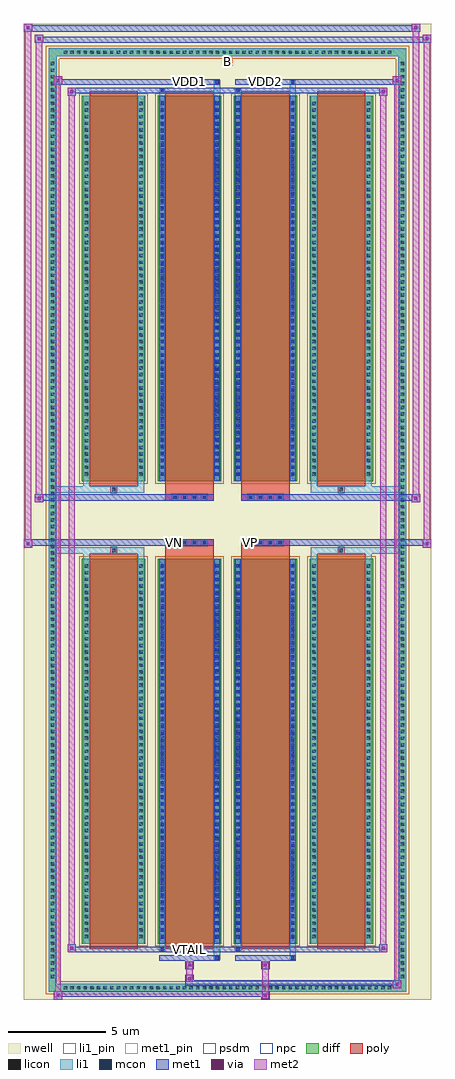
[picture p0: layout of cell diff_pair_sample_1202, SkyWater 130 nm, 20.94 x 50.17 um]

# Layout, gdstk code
import gdstk
lib = gdstk.Library(unit=1e-6, precision=5e-09)
def R(c, l, rs):  # rectangles x0, y0, x1, y1
    for r in rs: c.add(gdstk.rectangle(r[:2], r[2:], *l))
def A(c, l, x, y, w, h, nx, ny, dx, dy):  # array of equal rectangles
    R(c, l, [(x+i*dx, y+j*dy, x+i*dx+w, y+j*dy+h) for i in range(nx) for j in range(ny)])
def P(c, l, *ps):  # polygons
    for p in ps: c.add(gdstk.Polygon(p, *l))
nwell = (64, 20)
diff = (65, 20)
poly = (66, 20)
licon = (66, 44)
li1_pin = (67, 16)
li1 = (67, 20)
mcon = (67, 44)
met1_pin = (68, 16)
met1 = (68, 20)
via = (68, 44)
met2 = (69, 20)
psdm = (94, 20)
npc = (95, 20)

diff_pair_sample_1202 = lib.new_cell('diff_pair_sample_1202')
R(diff_pair_sample_1202, nwell, [(-10.47,-24.65,10.47,25.52), (-7.79,-22.84,-0.01,-0.8), (0.01,-22.84,7.79,-0.8), (-7.79,0.8,-0.01,22.84), (0.01,0.8,7.79,22.84)])
A(diff_pair_sample_1202, diff, -8.535, -24.25, 0.41, 0.41, 50, 2, 0.34, 48.09)
A(diff_pair_sample_1202, diff, -9.2, -23.665, 0.41, 0.41, 1, 139, 0, 0.34)
A(diff_pair_sample_1202, diff, 8.79, -23.665, 0.41, 0.41, 1, 139, 0, 0.34)
A(diff_pair_sample_1202, diff, -7.48, -21.795, 3.26, 19.81, 4, 2, 3.9, 23.78)
R(diff_pair_sample_1202, diff, [(-8.535,-24.25,8.535,-23.84), (-9.2,-23.665,-8.79,23.665), (8.79,-23.665,9.2,23.665), (-8.535,23.84,8.535,24.25)])
P(diff_pair_sample_1202, diff, [(9.2,24.25),(-9.2,24.25),(-9.2,-23.84),(-8.79,-23.84),(-8.79,23.84),(8.79,23.84),(8.79,-23.84),(-8.79,-23.84),(-9.2,-23.84),(-9.2,-24.25),(9.2,-24.25)])
A(diff_pair_sample_1202, poly, -7.09, -22.045, 2.48, 20.31, 4, 2, 3.9, 23.78)
A(diff_pair_sample_1202, poly, -2.865, -1.33, 0.33, 0.33, 4, 2, 0.5, 2.33)
A(diff_pair_sample_1202, poly, 1.035, -1.33, 0.33, 0.33, 4, 2, 0.5, 2.33)
R(diff_pair_sample_1202, poly, [(-6.015,-1.735,-5.685,-1.405), (-6.015,-1.735,-5.685,-1.405), (-3.19,-1.735,-0.71,-1.33), (0.71,-1.735,3.19,-1.33), (5.685,-1.735,6.015,-1.405), (5.685,-1.735,6.015,-1.405), (-3.19,-1.33,-0.71,-1), (0.71,-1.33,3.19,-1), (-3.19,1,-0.71,1.33), (0.71,1,3.19,1.33), (-3.19,1.33,-0.71,1.735), (0.71,1.33,3.19,1.735), (-6.015,1.405,-5.685,1.735), (-6.015,1.405,-5.685,1.735), (5.685,1.405,6.015,1.735), (5.685,1.405,6.015,1.735)])
A(diff_pair_sample_1202, licon, -8.415, -24.13, 0.17, 0.17, 50, 2, 0.34, 48.09)
A(diff_pair_sample_1202, licon, -9.08, -23.545, 0.17, 0.17, 1, 139, 0, 0.34)
A(diff_pair_sample_1202, licon, 8.91, -23.545, 0.17, 0.17, 1, 139, 0, 0.34)
A(diff_pair_sample_1202, licon, -7.34, -21.495, 0.17, 0.17, 1, 57, 0, 0.34)
A(diff_pair_sample_1202, licon, -4.53, -21.495, 0.17, 0.17, 1, 57, 0, 0.34)
A(diff_pair_sample_1202, licon, -3.44, -21.495, 0.17, 0.17, 1, 57, 0, 0.34)
A(diff_pair_sample_1202, licon, -0.63, -21.495, 0.17, 0.17, 1, 57, 0, 0.34)
A(diff_pair_sample_1202, licon, 0.46, -21.495, 0.17, 0.17, 1, 57, 0, 0.34)
A(diff_pair_sample_1202, licon, 3.27, -21.495, 0.17, 0.17, 1, 57, 0, 0.34)
A(diff_pair_sample_1202, licon, 4.36, -21.495, 0.17, 0.17, 1, 57, 0, 0.34)
A(diff_pair_sample_1202, licon, 7.17, -21.495, 0.17, 0.17, 1, 57, 0, 0.34)
A(diff_pair_sample_1202, licon, -2.785, -1.25, 0.17, 0.17, 4, 2, 0.5, 2.33)
A(diff_pair_sample_1202, licon, 1.115, -1.25, 0.17, 0.17, 4, 2, 0.5, 2.33)
A(diff_pair_sample_1202, licon, -7.34, 2.285, 0.17, 0.17, 1, 57, 0, 0.34)
A(diff_pair_sample_1202, licon, -4.53, 2.285, 0.17, 0.17, 1, 57, 0, 0.34)
A(diff_pair_sample_1202, licon, -3.44, 2.285, 0.17, 0.17, 1, 57, 0, 0.34)
A(diff_pair_sample_1202, licon, -0.63, 2.285, 0.17, 0.17, 1, 57, 0, 0.34)
A(diff_pair_sample_1202, licon, 0.46, 2.285, 0.17, 0.17, 1, 57, 0, 0.34)
A(diff_pair_sample_1202, licon, 3.27, 2.285, 0.17, 0.17, 1, 57, 0, 0.34)
A(diff_pair_sample_1202, licon, 4.36, 2.285, 0.17, 0.17, 1, 57, 0, 0.34)
A(diff_pair_sample_1202, licon, 7.17, 2.285, 0.17, 0.17, 1, 57, 0, 0.34)
R(diff_pair_sample_1202, licon, [(-5.935,-1.655,-5.765,-1.485), (5.765,-1.655,5.935,-1.485), (-5.935,1.485,-5.765,1.655), (5.765,1.485,5.935,1.655)])
R(diff_pair_sample_1202, li1_pin, [(-0.25,23.34,0.25,23.84)])
A(diff_pair_sample_1202, li1, -8.495, -24.21, 0.33, 0.33, 50, 2, 0.34, 48.09)
A(diff_pair_sample_1202, li1, -9.16, -23.625, 0.33, 0.33, 1, 139, 0, 0.34)
A(diff_pair_sample_1202, li1, 8.83, -23.625, 0.33, 0.33, 1, 139, 0, 0.34)
A(diff_pair_sample_1202, li1, -7.42, -21.575, 0.33, 0.33, 1, 57, 0, 0.34)
A(diff_pair_sample_1202, li1, -4.61, -21.575, 0.33, 0.33, 1, 57, 0, 0.34)
A(diff_pair_sample_1202, li1, -3.52, -21.575, 0.33, 0.33, 1, 57, 0, 0.34)
A(diff_pair_sample_1202, li1, -0.71, -21.575, 0.33, 0.33, 1, 57, 0, 0.34)
A(diff_pair_sample_1202, li1, 0.38, -21.575, 0.33, 0.33, 1, 57, 0, 0.34)
A(diff_pair_sample_1202, li1, 3.19, -21.575, 0.33, 0.33, 1, 57, 0, 0.34)
A(diff_pair_sample_1202, li1, 4.28, -21.575, 0.33, 0.33, 1, 57, 0, 0.34)
A(diff_pair_sample_1202, li1, 7.09, -21.575, 0.33, 0.33, 1, 57, 0, 0.34)
A(diff_pair_sample_1202, li1, -3.44, -21.515, 0.17, 0.17, 1, 54, 0, 0.36)
A(diff_pair_sample_1202, li1, -0.63, -21.515, 0.17, 0.17, 1, 54, 0, 0.36)
A(diff_pair_sample_1202, li1, 0.46, -21.515, 0.17, 0.17, 1, 54, 0, 0.36)
A(diff_pair_sample_1202, li1, 3.27, -21.515, 0.17, 0.17, 1, 54, 0, 0.36)
A(diff_pair_sample_1202, li1, -2.865, -1.33, 0.33, 0.33, 4, 2, 0.5, 2.33)
A(diff_pair_sample_1202, li1, 1.035, -1.33, 0.33, 0.33, 4, 2, 0.5, 2.33)
A(diff_pair_sample_1202, li1, -7.42, 2.205, 0.33, 0.33, 1, 57, 0, 0.34)
A(diff_pair_sample_1202, li1, -4.61, 2.205, 0.33, 0.33, 1, 57, 0, 0.34)
A(diff_pair_sample_1202, li1, -3.52, 2.205, 0.33, 0.33, 1, 57, 0, 0.34)
A(diff_pair_sample_1202, li1, -0.71, 2.205, 0.33, 0.33, 1, 57, 0, 0.34)
A(diff_pair_sample_1202, li1, 0.38, 2.205, 0.33, 0.33, 1, 57, 0, 0.34)
A(diff_pair_sample_1202, li1, 3.19, 2.205, 0.33, 0.33, 1, 57, 0, 0.34)
A(diff_pair_sample_1202, li1, 4.28, 2.205, 0.33, 0.33, 1, 57, 0, 0.34)
A(diff_pair_sample_1202, li1, 7.09, 2.205, 0.33, 0.33, 1, 57, 0, 0.34)
A(diff_pair_sample_1202, li1, -3.44, 2.265, 0.17, 0.17, 1, 54, 0, 0.36)
A(diff_pair_sample_1202, li1, -0.63, 2.265, 0.17, 0.17, 1, 54, 0, 0.36)
A(diff_pair_sample_1202, li1, 0.46, 2.265, 0.17, 0.17, 1, 54, 0, 0.36)
A(diff_pair_sample_1202, li1, 3.27, 2.265, 0.17, 0.17, 1, 54, 0, 0.36)
R(diff_pair_sample_1202, li1, [(-9.2,-24.25,-8.79,-23.84), (-9.2,-24.25,-8.79,-23.84), (-8.79,-24.25,8.79,-23.84), (8.79,-24.25,9.2,-23.84), (8.79,-24.25,9.2,-23.84), (-9.2,-23.84,-8.79,23.84), (8.79,-23.84,9.2,23.84), (-0.71,-22.6,-0.38,-21.795), (-0.63,-22.6,-0.46,-22.43), (3.19,-22.6,3.52,-21.795), (3.27,-22.6,3.44,-22.43), (-3.52,-22.17,-3.19,-21.795), (-3.44,-22.17,-3.27,-22), (0.38,-22.17,0.71,-21.795), (0.46,-22.17,0.63,-22), (-7.42,-21.795,-7.09,-1.985), (-4.61,-21.795,-4.28,-1.985), (-3.52,-21.795,-3.19,-1.985), (-0.71,-21.795,-0.38,-1.985), (0.38,-21.795,0.71,-1.985), (3.19,-21.795,3.52,-1.985), (4.28,-21.795,4.61,-1.985), (7.09,-21.795,7.42,-1.985), (-3.44,-21.515,-3.27,-2.265), (-0.63,-21.515,-0.46,-2.265), (0.46,-21.515,0.63,-2.265), (3.27,-21.515,3.44,-2.265), (-7.42,-1.985,-7.09,-1.405), (-4.61,-1.985,-4.28,-1.405), (4.28,-1.985,4.61,-1.405), (7.09,-1.985,7.42,-1.405), (-9.2,-1.735,-6.015,-1.405), (-7.42,-1.735,-6.015,-1.405), (-6.015,-1.735,-5.685,-1.405), (-5.685,-1.735,-4.28,-1.405), (4.28,-1.735,5.685,-1.405), (5.685,-1.735,6.015,-1.405), (5.685,-1.735,9.2,-1.405), (6.015,-1.735,7.42,-1.405), (-9.2,1.405,-6.015,1.735), (-7.42,1.405,-6.015,1.735), (-7.42,1.405,-7.09,1.985), (-6.015,1.405,-5.685,1.735), (-5.685,1.405,-4.28,1.735), (-4.61,1.405,-4.28,1.985), (4.28,1.405,5.685,1.735), (4.28,1.405,4.61,1.985), (5.685,1.405,6.015,1.735), (5.685,1.405,9.2,1.735), (6.015,1.405,7.42,1.735), (7.09,1.405,7.42,1.985), (-7.42,1.985,-7.09,21.795), (-4.61,1.985,-4.28,21.795), (-3.52,1.985,-3.19,21.795), (-0.71,1.985,-0.38,21.795), (0.38,1.985,0.71,21.795), (3.19,1.985,3.52,21.795), (4.28,1.985,4.61,21.795), (7.09,1.985,7.42,21.795), (-3.44,2.265,-3.27,21.515), (-0.63,2.265,-0.46,21.515), (0.46,2.265,0.63,21.515), (3.27,2.265,3.44,21.515), (-3.52,21.795,-3.19,22.17), (-0.71,21.795,-0.38,22.6), (0.38,21.795,0.71,22.17), (3.19,21.795,3.52,22.6), (-3.44,22,-3.27,22.17), (0.46,22,0.63,22.17), (-0.63,22.43,-0.46,22.6), (3.27,22.43,3.44,22.6), (-9.2,23.84,-8.79,24.25), (-9.2,23.84,-8.79,24.25), (-8.79,23.84,8.79,24.25), (8.79,23.84,9.2,24.25), (8.79,23.84,9.2,24.25)])
A(diff_pair_sample_1202, mcon, -3.44, -21.515, 0.17, 0.17, 1, 54, 0, 0.36)
A(diff_pair_sample_1202, mcon, -0.63, -21.515, 0.17, 0.17, 1, 54, 0, 0.36)
A(diff_pair_sample_1202, mcon, 0.46, -21.515, 0.17, 0.17, 1, 54, 0, 0.36)
A(diff_pair_sample_1202, mcon, 3.27, -21.515, 0.17, 0.17, 1, 54, 0, 0.36)
A(diff_pair_sample_1202, mcon, -2.785, -1.25, 0.17, 0.17, 4, 2, 0.5, 2.33)
A(diff_pair_sample_1202, mcon, 1.115, -1.25, 0.17, 0.17, 4, 2, 0.5, 2.33)
A(diff_pair_sample_1202, mcon, -3.44, 2.265, 0.17, 0.17, 1, 54, 0, 0.36)
A(diff_pair_sample_1202, mcon, -0.63, 2.265, 0.17, 0.17, 1, 54, 0, 0.36)
A(diff_pair_sample_1202, mcon, 0.46, 2.265, 0.17, 0.17, 1, 54, 0, 0.36)
A(diff_pair_sample_1202, mcon, 3.27, 2.265, 0.17, 0.17, 1, 54, 0, 0.36)
R(diff_pair_sample_1202, mcon, [(-0.63,-22.6,-0.46,-22.43), (3.27,-22.6,3.44,-22.43), (-3.44,-22.17,-3.27,-22), (0.46,-22.17,0.63,-22), (-3.44,22,-3.27,22.17), (0.46,22,0.63,22.17), (-0.63,22.43,-0.46,22.6), (3.27,22.43,3.44,22.6)])
R(diff_pair_sample_1202, met1_pin, [(-2.085,-22.21,-1.815,-21.94), (-2.835,-1.29,-2.565,-1.02), (1.065,-1.29,1.335,-1.02), (-2.085,22.39,-1.815,22.66), (1.815,22.39,2.085,22.66)])
A(diff_pair_sample_1202, met1, -3.5, -21.575, 0.29, 0.29, 1, 54, 0, 0.36)
A(diff_pair_sample_1202, met1, -0.69, -21.575, 0.29, 0.29, 1, 54, 0, 0.36)
A(diff_pair_sample_1202, met1, 0.4, -21.575, 0.29, 0.29, 1, 54, 0, 0.36)
A(diff_pair_sample_1202, met1, 3.21, -21.575, 0.29, 0.29, 1, 54, 0, 0.36)
A(diff_pair_sample_1202, met1, -2.845, -1.31, 0.29, 0.29, 4, 2, 0.5, 2.33)
A(diff_pair_sample_1202, met1, 1.055, -1.31, 0.29, 0.29, 4, 2, 0.5, 2.33)
A(diff_pair_sample_1202, met1, -3.5, 2.205, 0.29, 0.29, 1, 54, 0, 0.36)
A(diff_pair_sample_1202, met1, -0.69, 2.205, 0.29, 0.29, 1, 54, 0, 0.36)
A(diff_pair_sample_1202, met1, 0.4, 2.205, 0.29, 0.29, 1, 54, 0, 0.36)
A(diff_pair_sample_1202, met1, 3.21, 2.205, 0.29, 0.29, 1, 54, 0, 0.36)
R(diff_pair_sample_1202, met1, [(-8.93,-24.65,-8.5,-24.22), (1.735,-24.65,2.165,-24.22), (-8.93,-24.51,2.165,-24.22), (8.5,-24.08,8.93,-23.65), (-2.165,-23.94,8.93,-23.65), (-2.165,-23.8,-1.735,-23.37), (-2.165,-23.09,-1.735,-22.66), (1.735,-23.09,2.165,-22.66), (-3.5,-22.66,-0.4,-22.37), (-0.69,-22.66,-0.4,-22.37), (0.4,-22.66,3.5,-22.37), (3.21,-22.66,3.5,-22.37), (-8.22,-22.23,-7.79,-21.8), (-8.22,-22.23,-3.5,-21.94), (-3.5,-22.23,-3.21,-21.94), (-3.5,-22.23,-0.4,-21.94), (-0.4,-22.23,0.4,-21.94), (0.4,-22.23,0.69,-21.94), (0.4,-22.23,3.5,-21.94), (3.5,-22.23,8.22,-21.94), (7.79,-22.23,8.22,-21.8), (-3.5,-21.795,-3.21,-1.985), (-0.69,-21.795,-0.4,-1.985), (0.4,-21.795,0.69,-1.985), (3.21,-21.795,3.5,-1.985), (-10.47,-1.43,-10.04,-1), (10.04,-1.43,10.47,-1), (-10.47,-1.33,-0.71,-1), (-3.19,-1.33,-0.71,-1), (0.71,-1.33,3.19,-1), (0.71,-1.33,10.47,-1), (-9.9,0.9,-9.47,1.33), (9.47,0.9,9.9,1.33), (-9.9,1,-3.19,1.33), (-3.19,1,-0.71,1.33), (0.71,1,3.19,1.33), (3.19,1,9.9,1.33), (-3.5,1.985,-3.21,21.795), (-0.69,1.985,-0.4,21.795), (0.4,1.985,0.69,21.795), (3.21,1.985,3.5,21.795), (-8.22,21.8,-7.79,22.23), (7.79,21.8,8.22,22.23), (-8.22,21.94,-3.5,22.23), (-3.5,21.94,-3.21,22.23), (-3.5,21.94,-0.4,22.23), (-0.4,21.94,0.4,22.23), (0.4,21.94,0.69,22.23), (0.4,21.94,3.5,22.23), (3.5,21.94,8.22,22.23), (-8.93,22.37,-8.5,22.8), (-8.93,22.37,-3.5,22.66), (-3.5,22.37,-0.4,22.66), (-0.69,22.37,-0.4,22.66), (0.4,22.37,3.5,22.66), (3.21,22.37,3.5,22.66), (3.5,22.37,8.93,22.66), (8.5,22.37,8.93,22.8), (-9.9,24.52,-9.47,24.95), (-9.9,24.52,-7.79,24.85), (-7.79,24.52,7.79,24.85), (7.79,24.52,10.47,24.85), (10.04,24.52,10.47,24.95), (-10.47,25.09,-10.04,25.52), (-10.47,25.09,-7.79,25.42), (-7.79,25.09,7.79,25.42), (7.79,25.09,9.9,25.42), (9.47,25.09,9.9,25.52)])
R(diff_pair_sample_1202, via, [(-8.79,-24.51,-8.64,-24.36), (1.875,-24.51,2.025,-24.36), (8.64,-23.94,8.79,-23.79), (-2.025,-23.66,-1.875,-23.51), (-2.025,-22.95,-1.875,-22.8), (1.875,-22.95,2.025,-22.8), (-8.08,-22.09,-7.93,-21.94), (7.93,-22.09,8.08,-21.94), (-10.33,-1.29,-10.18,-1.14), (10.18,-1.29,10.33,-1.14), (-9.76,1.04,-9.61,1.19), (9.61,1.04,9.76,1.19), (-8.08,21.94,-7.93,22.09), (7.93,21.94,8.08,22.09), (-8.79,22.51,-8.64,22.66), (8.64,22.51,8.79,22.66), (-9.76,24.66,-9.61,24.81), (10.18,24.66,10.33,24.81), (-10.33,25.23,-10.18,25.38), (9.61,25.23,9.76,25.38)])
R(diff_pair_sample_1202, met2, [(-8.93,-24.65,-8.5,-24.22), (-8.86,-24.65,-8.57,22.8), (-8.57,-24.65,-8.5,-24.22), (-8.88,-24.6,-8.55,-24.27), (1.785,-24.6,2.115,-24.27), (1.785,-24.27,2.115,-23.04), (8.5,-24.08,8.93,-23.65), (8.57,-24.08,8.86,22.8), (8.86,-24.08,8.93,-23.65), (8.55,-24.03,8.88,-23.7), (-2.115,-23.75,-1.785,-23.42), (-2.115,-23.42,-1.785,-23.04), (-2.115,-23.04,-1.785,-22.71), (1.785,-23.04,2.115,-22.71), (-8.22,-22.23,-7.79,-21.8), (-8.15,-22.23,-7.86,22.23), (-7.86,-22.23,-7.79,-21.8), (7.79,-22.23,8.22,-21.8), (7.86,-22.23,8.15,22.23), (8.15,-22.23,8.22,-21.8), (-8.17,-22.18,-7.84,-21.85), (7.84,-22.18,8.17,-21.85), (-10.47,-1.43,-10.04,-1), (-10.42,-1.43,-10.09,25.52), (-10.09,-1.43,-10.04,-1), (10.04,-1.43,10.47,-1), (10.09,-1.43,10.42,24.95), (10.42,-1.43,10.47,-1), (-10.42,-1.38,-10.09,-1.05), (10.09,-1.38,10.42,-1.05), (-9.9,0.9,-9.47,1.33), (-9.85,0.9,-9.52,24.95), (-9.52,0.9,-9.47,1.33), (9.47,0.9,9.9,1.33), (9.52,0.9,9.85,25.52), (9.85,0.9,9.9,1.33), (-9.85,0.95,-9.52,1.28), (9.52,0.95,9.85,1.28), (-8.22,21.8,-7.79,22.23), (-7.86,21.8,-7.79,22.23), (7.79,21.8,8.22,22.23), (8.15,21.8,8.22,22.23), (-8.17,21.85,-7.84,22.18), (7.84,21.85,8.17,22.18), (-8.93,22.37,-8.5,22.8), (-8.57,22.37,-8.5,22.8), (8.5,22.37,8.93,22.8), (8.86,22.37,8.93,22.8), (-8.88,22.42,-8.55,22.75), (8.55,22.42,8.88,22.75), (-9.9,24.52,-9.47,24.95), (-9.52,24.52,-9.47,24.95), (10.04,24.52,10.47,24.95), (10.42,24.52,10.47,24.95), (-9.85,24.57,-9.52,24.9), (10.09,24.57,10.42,24.9), (-10.47,25.09,-10.04,25.52), (-10.09,25.09,-10.04,25.52), (9.47,25.09,9.9,25.52), (9.85,25.09,9.9,25.52), (-10.42,25.14,-10.09,25.47), (9.52,25.14,9.85,25.47)])
A(diff_pair_sample_1202, psdm, -7.61, -21.925, 3.52, 20.07, 4, 2, 3.9, 23.78)
P(diff_pair_sample_1202, psdm, [(9.33,24.38),(-9.33,24.38),(-9.33,-23.71),(-8.66,-23.71),(-8.66,23.71),(8.66,23.71),(8.66,-23.71),(-8.66,-23.71),(-9.33,-23.71),(-9.33,-24.38),(9.33,-24.38)])
A(diff_pair_sample_1202, npc, -2.885, -1.35, 0.37, 0.37, 4, 2, 0.5, 2.33)
A(diff_pair_sample_1202, npc, 1.015, -1.35, 0.37, 0.37, 4, 2, 0.5, 2.33)
R(diff_pair_sample_1202, npc, [(-6.035,-1.755,-5.665,-1.385), (5.665,-1.755,6.035,-1.385), (-2.885,-1.35,-2.015,-0.98), (-2.885,-1.35,-2.015,-0.98), (-2.385,-1.35,-1.515,-0.98), (-2.385,-1.35,-1.515,-0.98), (-1.885,-1.35,-1.015,-0.98), (-1.885,-1.35,-1.015,-0.98), (1.015,-1.35,1.885,-0.98), (1.015,-1.35,1.885,-0.98), (1.515,-1.35,2.385,-0.98), (1.515,-1.35,2.385,-0.98), (2.015,-1.35,2.885,-0.98), (2.015,-1.35,2.885,-0.98), (-2.885,0.98,-2.015,1.35), (-2.885,0.98,-2.015,1.35), (-2.385,0.98,-1.515,1.35), (-2.385,0.98,-1.515,1.35), (-1.885,0.98,-1.015,1.35), (-1.885,0.98,-1.015,1.35), (1.015,0.98,1.885,1.35), (1.015,0.98,1.885,1.35), (1.515,0.98,2.385,1.35), (1.515,0.98,2.385,1.35), (2.015,0.98,2.885,1.35), (2.015,0.98,2.885,1.35), (-6.035,1.385,-5.665,1.755), (5.665,1.385,6.035,1.755)])
diff_pair_sample_1202.add(gdstk.Label('VTAIL', (-1.95,-22.075), layer=68, texttype=5))
diff_pair_sample_1202.add(gdstk.Label('VN', (-2.7,-1.155), layer=68, texttype=5))
diff_pair_sample_1202.add(gdstk.Label('VP', (1.2,-1.155), layer=68, texttype=5))
diff_pair_sample_1202.add(gdstk.Label('B', (0,23.59), layer=67, texttype=5))
diff_pair_sample_1202.add(gdstk.Label('VDD2', (1.95,22.525), layer=68, texttype=5))
diff_pair_sample_1202.add(gdstk.Label('VDD1', (-1.95,22.525), layer=68, texttype=5))

lib.write_gds('diff_pair_sample_1202.gds')
